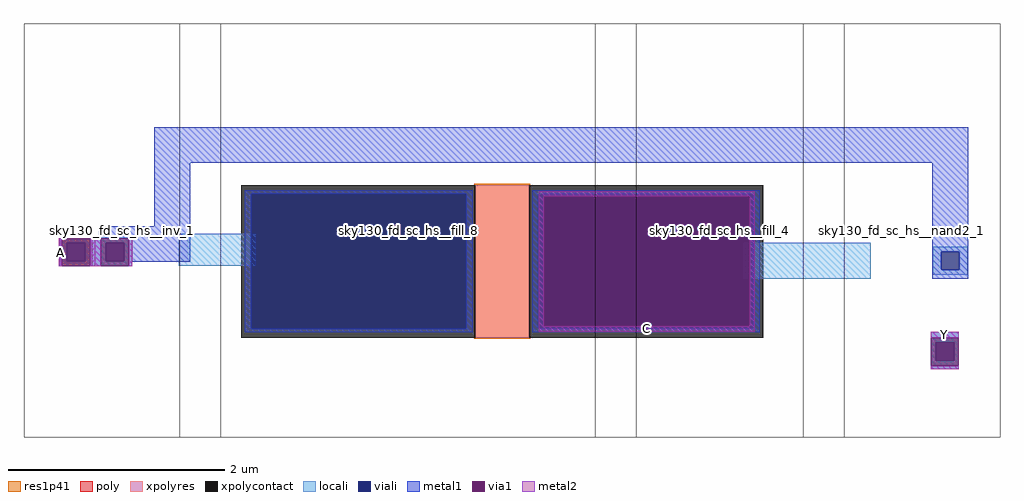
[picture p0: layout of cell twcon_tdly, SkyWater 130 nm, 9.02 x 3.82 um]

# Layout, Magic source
magic
tech sky130A
magscale 1 2
<< poly >>
rect -3066 94 -3004 103
rect -3066 60 -3052 94
rect -3018 60 -3004 94
rect -3066 51 -3004 60
rect -3000 51 -2999 103
<< locali >>
rect -3067 94 -2931 103
rect -3067 60 -3052 94
rect -3018 60 -2980 94
rect -2946 60 -2931 94
rect -3067 51 -2931 60
rect -2845 52 -2703 111
rect -1801 28 -1566 94
rect -1451 78 -1387 87
rect -1451 44 -1436 78
rect -1402 44 -1387 78
rect -1451 35 -1387 44
rect -1455 -90 -1403 -70
rect -1455 -124 -1446 -90
rect -1412 -124 -1403 -90
rect -1455 -139 -1403 -124
<< viali >>
rect -3052 60 -3018 94
rect -2980 60 -2946 94
rect -1436 44 -1402 78
rect -1446 -124 -1412 -90
<< metal1 >>
rect -2890 242 -1386 308
rect -2890 125 -2824 242
rect -2994 103 -2824 125
rect -3067 51 -3061 103
rect -3009 51 -2989 103
rect -2937 59 -2824 103
rect -2937 51 -2931 59
rect -1452 78 -1386 242
rect -1452 44 -1436 78
rect -1402 44 -1386 78
rect -1452 28 -1386 44
rect -1455 -81 -1403 -70
rect -1455 -139 -1403 -133
<< via1 >>
rect -3061 94 -3009 103
rect -3061 60 -3052 94
rect -3052 60 -3018 94
rect -3018 60 -3009 94
rect -3061 51 -3009 60
rect -2989 94 -2937 103
rect -2989 60 -2980 94
rect -2980 60 -2946 94
rect -2946 60 -2937 94
rect -2989 51 -2937 60
rect -2170 -60 -1790 180
rect -1455 -90 -1403 -81
rect -1455 -124 -1446 -90
rect -1446 -124 -1412 -90
rect -1412 -124 -1403 -90
rect -1455 -133 -1403 -124
<< metal2 >>
rect -2180 180 -1780 190
rect -3067 51 -3061 103
rect -3009 51 -2989 103
rect -2937 51 -2931 103
rect -2180 -60 -2170 180
rect -1790 -60 -1780 180
rect -2180 -70 -1780 -60
rect -1455 -81 -1403 -70
rect -1455 -139 -1403 -133
use sky130_fd_pr__res_xhigh_po_1p41_GKKP9B  sky130_fd_pr__res_xhigh_po_1p41_GKKP9B_0
transform 0 1 -2247 -1 0 60
box -143 -482 143 482
use sky130_fd_sc_hs__fill_4  sky130_fd_sc_hs__fill_4_0 $PDKPATH/libs.ref/sky130_fd_sc_hs/mag
transform 1 0 -2037 0 1 -216
box -38 -49 422 715
use sky130_fd_sc_hs__fill_8  sky130_fd_sc_hs__fill_8_0 $PDKPATH/libs.ref/sky130_fd_sc_hs/mag
transform 1 0 -2805 0 1 -216
box -38 -49 806 715
use sky130_fd_sc_hs__inv_1  sky130_fd_sc_hs__inv_1_0 $PDKPATH/libs.ref/sky130_fd_sc_hs/mag
transform 1 0 -3093 0 1 -216
box -38 -49 326 715
use sky130_fd_sc_hs__nand2_1  sky130_fd_sc_hs__nand2_1_2 $PDKPATH/libs.ref/sky130_fd_sc_hs/mag
transform 1 0 -1653 0 1 -216
box -38 -49 326 715
<< labels >>
rlabel metal2 -3067 51 -3061 103 1 A
rlabel metal2 -2180 -70 -1780 -60 1 C
rlabel metal2 -1455 -80 -1403 -70 1 Y
<< end >>

# cell sky130_fd_pr__res_xhigh_po_1p41_GKKP9B: kit device sky130_fd_pr__res_xhigh_po_1p41, w 1.410 l 0.5 m 1 nx 1 wmin 1.410 lmin 0.50 rho 2000 val 976.17 dummy 0 dw 0.0 term 188.2 sterm 0.0 caplen 0 wmax 1.410 guard 0 glc 1 grc 1 gtc 1 gbc 1 compatible {sky130_fd_pr__res_xhigh_po_0p35 sky130_fd_pr__res_xhigh_po_0p69 sky130_fd_pr__res_xhigh_po_1p41 sky130_fd_pr__res_xhigh_po_2p85 sky130_fd_pr__res_xhigh_po_5p73} snake 0 full_metal 1 n_guard 0 hv_guard 0 vias 1 viagb 0 viagt 0 viagl 0 viagr 0
